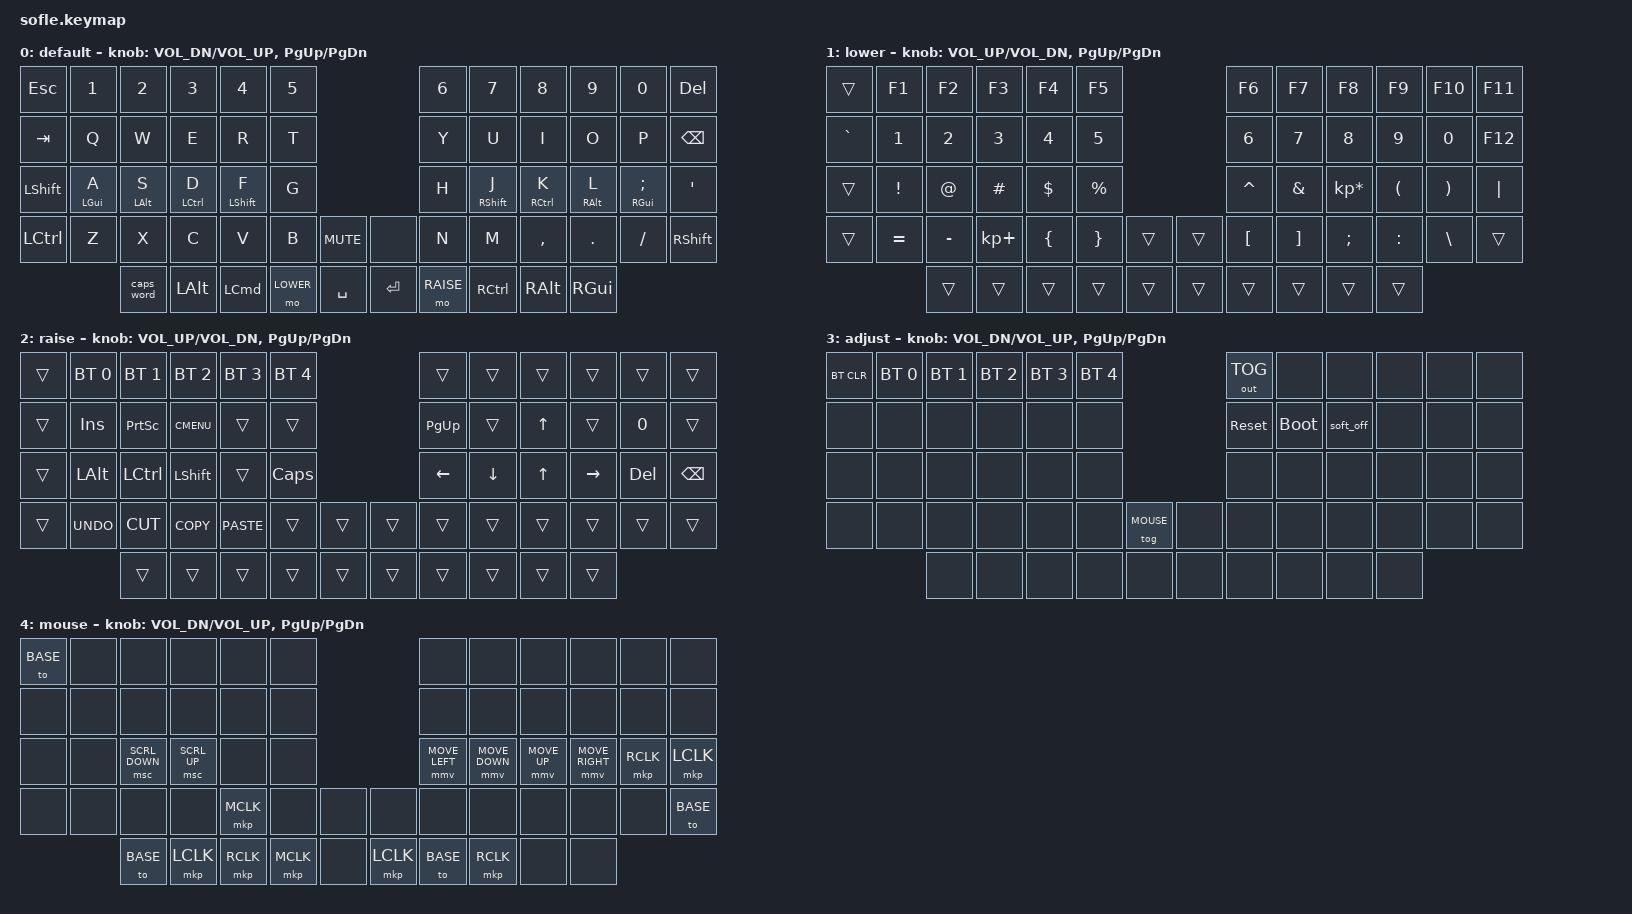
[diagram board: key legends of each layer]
/*
 * Copyright (c) 2020 The ZMK Contributors
 *
 * SPDX-License-Identifier: MIT
 */

#include <behaviors.dtsi>
#include <dt-bindings/zmk/bt.h>
#include <dt-bindings/zmk/keys.h>
#include <dt-bindings/zmk/mouse.h>
#include <dt-bindings/zmk/outputs.h>

#define BASE   0
#define LOWER  1
#define RAISE  2
#define ADJUST 3
#define MOUSE  4

/ {
    behaviors {
        // Home-row mod: balanced flavor with prior-idle guard to prevent
        // accidental modifier activation during fast typing.
        hm: homerow_mods {
            compatible = "zmk,behavior-hold-tap";
            #binding-cells = <2>;
            tapping-term-ms = <280>;
            quick-tap-ms = <175>;
            require-prior-idle-ms = <150>;
            flavor = "balanced";
            bindings = <&kp>, <&kp>;
        };
    };

    combos {
        compatible = "zmk,combos";

        // JK => ESC (vim-style)
        combo_esc {
            timeout-ms = <50>;
            key-positions = <31 32>;
            bindings = <&kp ESC>;
            layers = <BASE>;
        };
    };

    // ADJUST activates when both LOWER and RAISE are held simultaneously.
    conditional_layers {
        compatible = "zmk,conditional-layers";

        adjust_layer {
            if-layers = <LOWER RAISE>;
            then-layer = <ADJUST>;
        };
    };

    keymap {
        compatible = "zmk,keymap";

        default_layer {
            label = "default";

            // ---------------------------------------------------------------------------------------------------------------
            // |  ESC  |  1  |  2  |  3   |  4   |  5   |                   |  6   |  7    |  8    |  9   |   0   |  DEL  |
            // |  TAB  |  Q  |  W  |  E   |  R   |  T   |                   |  Y   |  U    |  I    |  O   |   P   | BKSPC |
            // | SHIFT |  A  |  S  |  D   |  F   |  G   |                   |  H   |  J    |  K    |  L   |   ;   |   '   |
            // | CTRL  |  Z  |  X  |  C   |  V   |  B   |  MUTE  |  |       |  N   |  M    |  ,    |  .   |   /   | SHIFT |
            //               |CAPW | ALT  | CMD  |LOWER | SPACE  |  | ENTER |RAISE | CTRL  |  ALT  | GUI  |
            //
            // Home-row mods (hold): A=GUI  S=ALT  D=CTRL  F=SHFT  |  J=SHFT  K=CTRL  L=ALT  ;=GUI
            // Combo: J+K = ESC

            bindings = <
&kp ESC        &kp N1       &kp N2       &kp N3            &kp N4       &kp N5                              &kp N6    &kp N7        &kp N8        &kp N9        &kp N0        &kp DELETE
&kp TAB        &kp Q        &kp W        &kp E             &kp R        &kp T                               &kp Y     &kp U         &kp I         &kp O         &kp P         &kp BSPC
&kp LEFT_SHIFT &hm LGUI A   &hm LALT S   &hm LCTRL D       &hm LSHFT F  &kp G                               &kp H     &hm RSHFT J   &hm RCTRL K   &hm RALT L    &hm RGUI SEMI &kp SQT
&kp LEFT_CONTROL &kp Z      &kp X        &kp C             &kp V        &kp B      &kp C_MUTE    &none      &kp N     &kp M         &kp COMMA     &kp DOT       &kp FSLH      &kp RSHFT
                             &caps_word   &kp LALT          &kp LEFT_COMMAND &mo LOWER &kp SPACE  &kp ENTER  &mo RAISE &kp RCTRL     &kp RALT      &kp RGUI
            >;

            sensor-bindings =
                <&inc_dec_kp C_VOL_DN C_VOLUME_UP>,
                <&inc_dec_kp PG_UP PG_DN>;
        };

        lower_layer {
            label = "lower";

            // ---------------------------------------------------------------------------------------------------------------
            // |       |  F1 |  F2 |  F3  |  F4  |  F5  |                   |  F6  |  F7   |  F8   |  F9  |  F10  |  F11  |
            // |   `   |  1  |  2  |  3   |  4   |  5   |                   |  6   |  7    |  8    |  9   |   0   |  F12  |
            // |       |  !  |  @  |  #   |  $   |  %   |                   |  ^   |  &    |  *    |  (   |   )   |   |   |
            // |       |  =  |  -  |  +   |  {   |  }   |        |  |       |  [   |  ]    |  ;    |  :   |   \   |       |
            //               |     |      |      |      |        |  |       |      |       |       |      |

            bindings = <
&trans     &kp F1     &kp F2     &kp F3       &kp F4    &kp F5                       &kp F6     &kp F7    &kp F8           &kp F9     &kp F10   &kp F11
&kp GRAVE  &kp N1     &kp N2     &kp N3       &kp N4    &kp N5                       &kp N6     &kp N7    &kp N8           &kp N9     &kp N0    &kp F12
&trans     &kp EXCL   &kp AT     &kp HASH     &kp DLLR  &kp PRCNT                    &kp CARET  &kp AMPS  &kp KP_MULTIPLY  &kp LPAR   &kp RPAR  &kp PIPE
&trans     &kp EQUAL  &kp MINUS  &kp KP_PLUS  &kp LBRC  &kp RBRC   &trans    &trans  &kp LBKT   &kp RBKT  &kp SEMI         &kp COLON  &kp BSLH  &trans
                      &trans     &trans       &trans    &trans     &trans    &trans  &trans     &trans    &trans           &trans
            >;

            sensor-bindings =
                <&inc_dec_kp C_VOL_UP C_VOL_DN>,
                <&inc_dec_kp PG_UP PG_DN>;
        };

        raise_layer {
            label = "raise";

            // ---------------------------------------------------------------------------------------------------------------
            // |       | BT1  | BT2  |  BT3  |  BT4  |  BT5 |                |      |      |       |      |       |       |
            // |       | INS  | PSCR | MENU  |       |      |                | PGUP |      |   ^   |      |       |       |
            // |       | ALT  | CTRL | SHIFT |       | CAPS |                |  <-  |   v  |   ^   |  ->  |  DEL  | BKSPC |
            // |       | UNDO | CUT  | COPY  | PASTE |      |      |  |      |      |      |       |      |       |       |
            //                |      |       |       |      |      |  |      |      |      |       |      |
            //
            // Arrows are vim-style (HJKL) on the right home row.
            // BT_CLR removed from this layer -- use ADJUST (LOWER+RAISE) to clear bonds safely.

            bindings = <
&trans  &bt BT_SEL 0  &bt BT_SEL 1  &bt BT_SEL 2  &bt BT_SEL 3  &bt BT_SEL 4                    &trans          &trans          &trans        &trans     &trans   &trans
&trans  &kp INS       &kp PSCRN     &kp K_CMENU   &trans        &trans                          &kp PG_UP       &trans          &kp UP        &trans     &kp N0   &trans
&trans  &kp LALT      &kp LCTRL     &kp LSHFT     &trans        &kp CLCK                        &kp LEFT_ARROW  &kp DOWN_ARROW  &kp UP_ARROW  &kp RIGHT  &kp DEL  &kp BSPC
&trans  &kp K_UNDO    &kp K_CUT     &kp K_COPY    &kp K_PASTE   &trans        &trans    &trans  &trans          &trans          &trans        &trans     &trans   &trans
                      &trans        &trans        &trans        &trans        &trans    &trans  &trans          &trans          &trans        &trans
            >;

            sensor-bindings =
                <&inc_dec_kp C_VOL_UP C_VOL_DN>,
                <&inc_dec_kp PG_UP PG_DN>;
        };

        adjust_layer {
            label = "adjust";

            // ---------------------------------------------------------------------------------------------------------------
            // | BTCLR | BT1  | BT2  |  BT3  |  BT4  |  BT5 |                  | OUT_TOG |       |       |      |       |       |
            // |       |      |      |       |       |      |                  | RESET   | BOOT  | SOFF  |      |       |       |
            // |       |      |      |       |       |      |                  |         |       |       |      |       |       |
            // |       |      |      |       |       |      | MOUSE |  |       |         |       |       |      |       |       |
            //                |      |       |       |      |       |  |       |         |       |       |      |
            //
            // Left encoder press toggles mouse layer.
            // OUT_TOG: switch between USB and BLE output.
            // BOOT: enter UF2 bootloader (for flashing firmware).
            // RESET: soft reset.
            // SOFF: soft power off (wake by pressing any key or reset).

            bindings = <
&bt BT_CLR  &bt BT_SEL 0  &bt BT_SEL 1  &bt BT_SEL 2  &bt BT_SEL 3  &bt BT_SEL 4                          &out OUT_TOG  &none        &none       &none  &none  &none
&none       &none         &none         &none         &none         &none                                   &sys_reset    &bootloader  &soft_off   &none  &none  &none
&none       &none         &none         &none         &none         &none                                   &none         &none        &none       &none  &none  &none
&none       &none         &none         &none         &none         &none         &tog MOUSE    &none       &none         &none        &none       &none  &none  &none
                          &none         &none         &none         &none         &none         &none       &none         &none        &none       &none
            >;

            sensor-bindings =
                <&inc_dec_kp C_VOL_DN C_VOLUME_UP>,
                <&inc_dec_kp PG_UP PG_DN>;
        };

        mouse_layer {
            label = "mouse";

            // ---------------------------------------------------------------------------------------------------------------
            // | EXIT  |      |       |       |       |      |                  |      |       |       |      |       |       |
            // |       |      |       |       |       |      |                  |      |       |  M_UP |      |       |       |
            // |       |      | SDWN  |  SUP  |       |      |                  | M_LT | M_DN  | M_UP  | M_RT | RCLK  | LCLK  |
            // |       |      |       |       | MCLK  |      |       |  |       |      |       |       |      |       | EXIT  |
            //                | EXIT  | LCLK  | RCLK  | MCLK |       |  | LCLK | EXIT | RCLK  |       |      |
            //
            // Movement: HJKL on right home row (H=left  J=down  K=up  L=right)
            // Scroll: S=scroll-down  D=scroll-up on left home row
            // Exit mouse mode: ESC row 0 col 0, or thumb EXIT keys, or row 3 last key

            bindings = <
&to BASE  &none  &none          &none          &none       &none                        &none          &none          &none          &none           &none      &none
&none     &none  &none          &none          &none       &none                        &none          &none          &none          &none           &none      &none
&none     &none  &msc SCRL_DOWN &msc SCRL_UP   &none       &none                        &mmv MOVE_LEFT &mmv MOVE_DOWN &mmv MOVE_UP   &mmv MOVE_RIGHT &mkp RCLK  &mkp LCLK
&none     &none  &none          &none          &mkp MCLK   &none  &none       &none     &none          &none          &none          &none           &none      &to BASE
                 &to BASE       &mkp LCLK      &mkp RCLK   &mkp MCLK &none    &mkp LCLK &to BASE      &mkp RCLK      &none          &none
            >;

            sensor-bindings =
                <&inc_dec_kp C_VOL_DN C_VOLUME_UP>,
                <&inc_dec_kp PG_UP PG_DN>;
        };
    };
};
